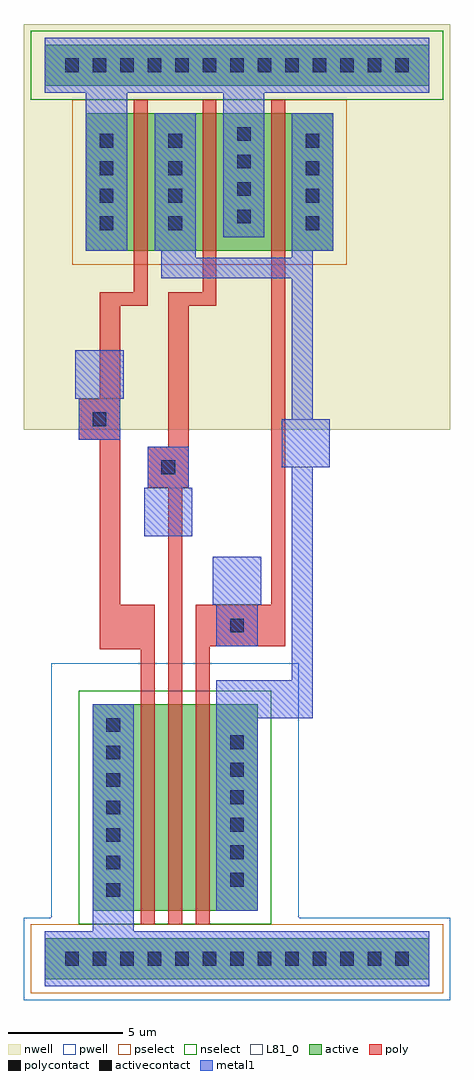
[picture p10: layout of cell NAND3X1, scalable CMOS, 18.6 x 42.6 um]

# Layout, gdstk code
import gdstk
lib = gdstk.Library(unit=1e-6, precision=1e-09)
def R(c, l, rs):  # rectangles x0, y0, x1, y1
    for r in rs: c.add(gdstk.rectangle(r[:2], r[2:], *l))
def A(c, l, x, y, w, h, nx, ny, dx, dy):  # array of equal rectangles
    R(c, l, [(x+i*dx, y+j*dy, x+i*dx+w, y+j*dy+h) for i in range(nx) for j in range(ny)])
pwell = (41, 0)
nwell = (42, 0)
active = (43, 0)
pselect = (44, 0)
nselect = (45, 0)
poly = (46, 0)
polycontact = (47, 0)
activecontact = (48, 0)
metal1 = (49, 0)
L81_0 = (81, 0)

nand3x1 = lib.new_cell('NAND3X1')
R(nand3x1, pwell, [(-1.8,-1.8,16.8,1.8), (-0.6,1.8,10.2,12.9)])
R(nand3x1, nwell, [(-1.8,23.1,16.8,40.8)])
R(nand3x1, active, [(-0.9,-0.9,15.9,0.9), (1.2,2.1,8.4,11.1), (0.9,30.9,11.7,36.9), (-0.9,38.1,15.9,39.9)])
R(nand3x1, pselect, [(-1.5,-1.5,16.5,1.5), (0.3,30.3,12.3,37.5)])
R(nand3x1, nselect, [(0.6,1.5,9,11.7), (-1.5,37.5,16.5,40.5)])
R(nand3x1, poly, [(3.3,1.5,3.9,13.5), (4.5,1.5,5.1,20.55), (5.7,1.5,6.3,13.65), (1.5,13.5,3.9,15.45), (5.7,13.65,9.6,15.45), (1.5,15.45,2.4,22.65), (9,15.45,9.6,37.5), (3.6,20.55,5.4,22.35), (4.5,22.35,5.4,28.5), (0.6,22.65,2.4,24.45), (1.5,24.45,2.4,28.5), (1.5,28.5,3.6,29.1), (4.5,28.5,6.6,29.1), (3,29.1,3.6,37.5), (6,29.1,6.6,37.5)])
R(nand3x1, polycontact, [(7.2,14.25,7.8,14.85), (4.2,21.15,4.8,21.75), (1.2,23.25,1.8,23.85)])
A(nand3x1, activecontact, 0, -0.3, 0.6, 0.6, 13, 2, 1.2, 39)
A(nand3x1, activecontact, 1.8, 2.7, 0.6, 0.6, 1, 7, 0, 1.2)
A(nand3x1, activecontact, 7.2, 3.15, 0.6, 0.6, 1, 6, 0, 1.2)
A(nand3x1, activecontact, 1.5, 31.8, 0.6, 0.6, 1, 4, 0, 1.2)
A(nand3x1, activecontact, 4.5, 31.8, 0.6, 0.6, 1, 4, 0, 1.2)
A(nand3x1, activecontact, 10.5, 31.8, 0.6, 0.6, 1, 4, 0, 1.2)
A(nand3x1, activecontact, 7.5, 32.1, 0.6, 0.6, 1, 4, 0, 1.2)
R(nand3x1, metal1, [(-0.9,-1.2,15.9,1.2), (1.2,1.2,3,11.1), (6.6,2.1,8.4,10.5), (6.6,10.5,10.8,12.15), (9.9,12.15,10.8,21.45), (6.6,13.65,8.4,15.45), (6.45,15.45,8.55,17.55), (3.45,18.45,5.55,20.55), (3.6,20.55,5.4,22.35), (9.45,21.45,11.55,23.55), (0.6,22.65,2.4,24.45), (9.9,23.55,10.8,29.7), (0.45,24.45,2.55,26.55), (4.2,29.7,10.8,30.6), (4.2,30.6,5.7,30.9), (9.9,30.6,10.8,30.9), (0.9,30.9,2.7,37.8), (3.9,30.9,5.7,36.9), (9.9,30.9,11.7,36.9), (6.9,31.5,8.7,37.8), (-0.9,37.8,15.9,40.2)])
R(nand3x1, L81_0, [(6.45,15.45,8.55,17.55), (3.45,18.45,5.55,20.55), (9.45,21.45,11.55,23.55), (0.45,24.45,2.55,26.55)])

lib.write_gds('NAND3X1.gds')
